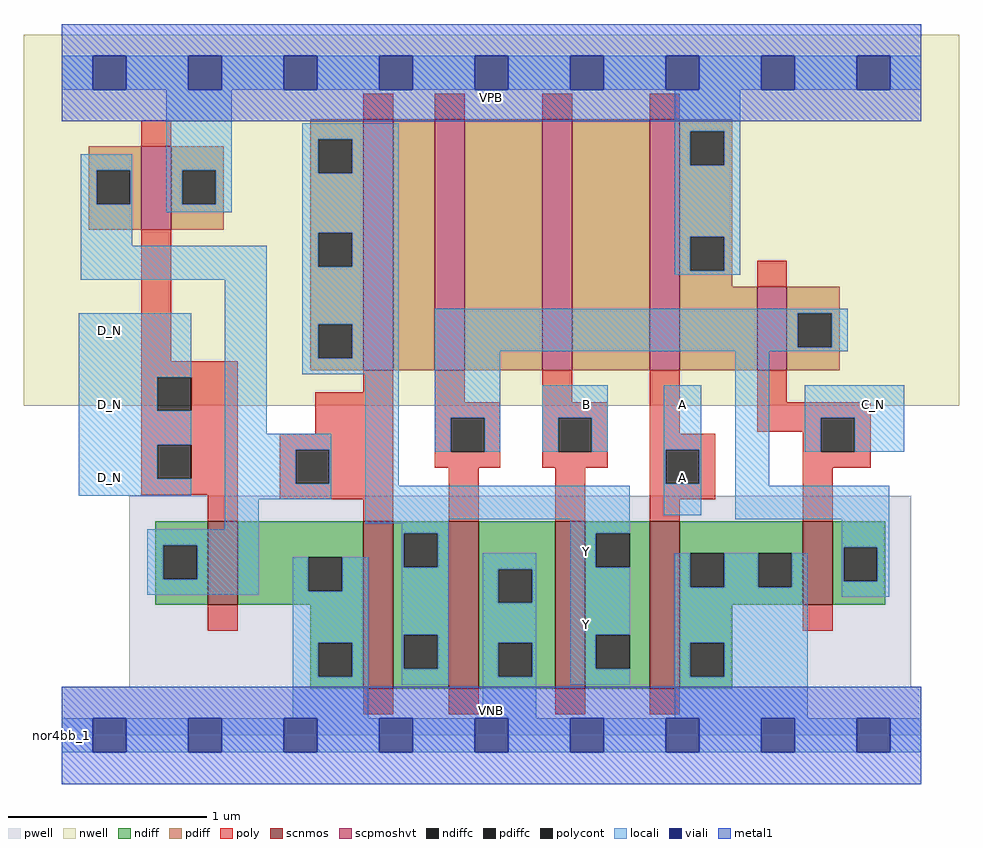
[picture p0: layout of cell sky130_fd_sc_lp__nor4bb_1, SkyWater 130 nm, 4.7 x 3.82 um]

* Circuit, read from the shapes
.subckt sky130_fd_sc_lp__nor4bb_1 A B C_N D_N VGND VNB VPB VPWR Y
XM1 VGND D_N n1 VNB sky130_fd_pr__nfet_01v8 w=0.42 l=0.15
XM2 Y n1 VGND VNB sky130_fd_pr__nfet_01v8 w=0.84 l=0.15
XM3 VGND n2 Y VNB sky130_fd_pr__nfet_01v8 w=0.84 l=0.15
XM4 Y B VGND VNB sky130_fd_pr__nfet_01v8 w=0.84 l=0.15
XM5 VGND A Y VNB sky130_fd_pr__nfet_01v8 w=0.84 l=0.15
XM6 n2 C_N VGND VNB sky130_fd_pr__nfet_01v8 w=0.42 l=0.15
XM7 VPWR D_N n1 VPB sky130_fd_pr__pfet_01v8_hvt w=0.42 l=0.15
XM8 n3 n1 Y VPB sky130_fd_pr__pfet_01v8_hvt w=1.26 l=0.15
XM9 n4 n2 n3 VPB sky130_fd_pr__pfet_01v8_hvt w=1.26 l=0.15
XM10 n5 B n4 VPB sky130_fd_pr__pfet_01v8_hvt w=1.26 l=0.15
XM11 VPWR A n5 VPB sky130_fd_pr__pfet_01v8_hvt w=1.26 l=0.15
XM12 n2 C_N VPWR VPB sky130_fd_pr__pfet_01v8_hvt w=0.42 l=0.15
.ends

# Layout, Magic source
magic
tech sky130A
magscale 1 2
<< nwell >>
rect -38 331 902 704
<< pwell >>
rect 68 49 854 241
rect 0 0 864 49
<< scnmos >>
rect 147 131 177 215
rect 303 47 333 215
rect 389 47 419 215
rect 496 47 526 215
rect 591 47 621 215
rect 745 131 775 215
<< scpmoshvt >>
rect 80 508 110 592
rect 303 367 333 619
rect 375 367 405 619
rect 483 367 513 619
rect 591 367 621 619
rect 699 367 729 451
<< ndiff >>
rect 94 191 147 215
rect 94 157 102 191
rect 136 157 147 191
rect 94 131 147 157
rect 177 179 303 215
rect 177 145 248 179
rect 282 145 303 179
rect 177 131 303 145
rect 250 93 303 131
rect 250 59 258 93
rect 292 59 303 93
rect 250 47 303 59
rect 333 203 389 215
rect 333 169 344 203
rect 378 169 389 203
rect 333 101 389 169
rect 333 67 344 101
rect 378 67 389 101
rect 333 47 389 67
rect 419 167 496 215
rect 419 133 439 167
rect 473 133 496 167
rect 419 93 496 133
rect 419 59 439 93
rect 473 59 496 93
rect 419 47 496 59
rect 526 203 591 215
rect 526 169 537 203
rect 571 169 591 203
rect 526 101 591 169
rect 526 67 537 101
rect 571 67 591 101
rect 526 47 591 67
rect 621 183 745 215
rect 621 149 632 183
rect 666 149 700 183
rect 734 149 745 183
rect 621 131 745 149
rect 775 189 828 215
rect 775 155 786 189
rect 820 155 828 189
rect 775 131 828 155
rect 621 93 674 131
rect 621 59 632 93
rect 666 59 674 93
rect 621 47 674 59
<< pdiff >>
rect 250 599 303 619
rect 27 568 80 592
rect 27 534 35 568
rect 69 534 80 568
rect 27 508 80 534
rect 110 568 163 592
rect 110 534 121 568
rect 155 534 163 568
rect 110 508 163 534
rect 250 565 258 599
rect 292 565 303 599
rect 250 505 303 565
rect 250 471 258 505
rect 292 471 303 505
rect 250 413 303 471
rect 250 379 258 413
rect 292 379 303 413
rect 250 367 303 379
rect 333 367 375 619
rect 405 367 483 619
rect 513 367 591 619
rect 621 607 674 619
rect 621 573 632 607
rect 666 573 674 607
rect 621 501 674 573
rect 621 467 632 501
rect 666 467 674 501
rect 621 451 674 467
rect 621 367 699 451
rect 729 424 782 451
rect 729 390 740 424
rect 774 390 782 424
rect 729 367 782 390
<< ndiffc >>
rect 102 157 136 191
rect 248 145 282 179
rect 258 59 292 93
rect 344 169 378 203
rect 344 67 378 101
rect 439 133 473 167
rect 439 59 473 93
rect 537 169 571 203
rect 537 67 571 101
rect 632 149 666 183
rect 700 149 734 183
rect 786 155 820 189
rect 632 59 666 93
<< pdiffc >>
rect 35 534 69 568
rect 121 534 155 568
rect 258 565 292 599
rect 258 471 292 505
rect 258 379 292 413
rect 632 573 666 607
rect 632 467 666 501
rect 740 390 774 424
<< poly >>
rect 303 619 333 645
rect 375 619 405 645
rect 483 619 513 645
rect 591 619 621 645
rect 80 592 110 618
rect 80 376 110 508
rect 80 360 177 376
rect 699 451 729 477
rect 80 326 96 360
rect 130 326 177 360
rect 303 345 333 367
rect 80 292 177 326
rect 255 303 333 345
rect 80 258 96 292
rect 130 258 177 292
rect 80 242 177 258
rect 147 215 177 242
rect 219 287 333 303
rect 219 253 235 287
rect 269 253 333 287
rect 375 335 405 367
rect 483 335 513 367
rect 375 319 441 335
rect 375 285 391 319
rect 425 285 441 319
rect 375 269 441 285
rect 483 319 549 335
rect 483 285 499 319
rect 533 285 549 319
rect 483 269 549 285
rect 591 303 621 367
rect 699 335 729 367
rect 699 319 813 335
rect 699 305 763 319
rect 591 287 657 303
rect 219 237 333 253
rect 303 215 333 237
rect 389 215 419 269
rect 496 215 526 269
rect 591 253 607 287
rect 641 253 657 287
rect 591 237 657 253
rect 745 285 763 305
rect 797 285 813 319
rect 745 269 813 285
rect 591 215 621 237
rect 745 215 775 269
rect 147 105 177 131
rect 745 105 775 131
rect 303 21 333 47
rect 389 21 419 47
rect 496 21 526 47
rect 591 21 621 47
<< polycont >>
rect 96 326 130 360
rect 96 258 130 292
rect 235 253 269 287
rect 391 285 425 319
rect 499 285 533 319
rect 607 253 641 287
rect 763 285 797 319
<< locali >>
rect 0 649 31 683
rect 65 649 127 683
rect 161 649 223 683
rect 257 649 319 683
rect 353 649 415 683
rect 449 649 511 683
rect 545 649 607 683
rect 641 649 703 683
rect 737 649 799 683
rect 833 649 864 683
rect 19 568 71 584
rect 19 534 35 568
rect 69 534 71 568
rect 19 492 71 534
rect 105 568 171 649
rect 105 534 121 568
rect 155 534 171 568
rect 105 526 171 534
rect 242 599 339 615
rect 242 565 258 599
rect 292 565 339 599
rect 242 505 339 565
rect 19 458 206 492
rect 17 360 130 424
rect 17 326 96 360
rect 17 292 130 326
rect 17 258 96 292
rect 17 241 130 258
rect 164 303 206 458
rect 242 471 258 505
rect 292 471 339 505
rect 242 413 339 471
rect 616 607 682 649
rect 616 573 632 607
rect 666 573 682 607
rect 616 501 682 573
rect 616 467 632 501
rect 666 467 682 501
rect 616 463 682 467
rect 242 379 258 413
rect 292 379 339 413
rect 242 363 339 379
rect 164 287 271 303
rect 164 253 235 287
rect 269 253 271 287
rect 164 237 271 253
rect 305 251 339 363
rect 375 424 790 429
rect 375 390 740 424
rect 774 390 790 424
rect 375 386 790 390
rect 375 319 441 386
rect 375 285 391 319
rect 425 285 441 319
rect 483 319 549 352
rect 483 285 499 319
rect 533 285 549 319
rect 605 287 643 352
rect 605 253 607 287
rect 641 253 643 287
rect 164 207 198 237
rect 305 217 571 251
rect 605 221 643 253
rect 677 251 711 386
rect 747 319 847 352
rect 747 285 763 319
rect 797 285 847 319
rect 677 217 832 251
rect 305 213 389 217
rect 86 191 198 207
rect 86 157 102 191
rect 136 157 198 191
rect 342 203 389 213
rect 86 141 198 157
rect 232 145 248 179
rect 282 145 308 179
rect 232 93 308 145
rect 232 59 258 93
rect 292 59 308 93
rect 232 17 308 59
rect 342 169 344 203
rect 378 169 389 203
rect 511 203 571 217
rect 342 101 389 169
rect 342 67 344 101
rect 378 67 389 101
rect 342 51 389 67
rect 423 167 477 183
rect 423 133 439 167
rect 473 133 477 167
rect 423 93 477 133
rect 423 59 439 93
rect 473 59 477 93
rect 423 17 477 59
rect 511 169 537 203
rect 784 189 832 217
rect 511 101 571 169
rect 511 67 537 101
rect 511 51 571 67
rect 616 149 632 183
rect 666 149 700 183
rect 734 149 750 183
rect 616 93 750 149
rect 784 155 786 189
rect 820 155 832 189
rect 784 139 832 155
rect 616 59 632 93
rect 666 59 750 93
rect 616 17 750 59
rect 0 -17 31 17
rect 65 -17 127 17
rect 161 -17 223 17
rect 257 -17 319 17
rect 353 -17 415 17
rect 449 -17 511 17
rect 545 -17 607 17
rect 641 -17 703 17
rect 737 -17 799 17
rect 833 -17 864 17
<< viali >>
rect 31 649 65 683
rect 127 649 161 683
rect 223 649 257 683
rect 319 649 353 683
rect 415 649 449 683
rect 511 649 545 683
rect 607 649 641 683
rect 703 649 737 683
rect 799 649 833 683
rect 31 -17 65 17
rect 127 -17 161 17
rect 223 -17 257 17
rect 319 -17 353 17
rect 415 -17 449 17
rect 511 -17 545 17
rect 607 -17 641 17
rect 703 -17 737 17
rect 799 -17 833 17
<< metal1 >>
rect 0 683 864 715
rect 0 649 31 683
rect 65 649 127 683
rect 161 649 223 683
rect 257 649 319 683
rect 353 649 415 683
rect 449 649 511 683
rect 545 649 607 683
rect 641 649 703 683
rect 737 649 799 683
rect 833 649 864 683
rect 0 617 864 649
rect 0 17 864 49
rect 0 -17 31 17
rect 65 -17 127 17
rect 161 -17 223 17
rect 257 -17 319 17
rect 353 -17 415 17
rect 449 -17 511 17
rect 545 -17 607 17
rect 641 -17 703 17
rect 737 -17 799 17
rect 833 -17 864 17
rect 0 -49 864 -17
<< labels >>
flabel pwell s 0 0 864 49 0 FreeSans 200 0 0 0 VNB
port 6 nsew ground bidirectional
flabel nwell s 0 617 864 666 0 FreeSans 200 0 0 0 VPB
port 7 nsew power bidirectional
rlabel comment s 0 0 0 0 4 nor4bb_1
flabel metal1 s 0 617 864 666 0 FreeSans 340 0 0 0 VPWR
port 8 nsew power bidirectional
flabel metal1 s 0 0 864 49 0 FreeSans 340 0 0 0 VGND
port 5 nsew ground bidirectional
flabel locali s 607 242 641 276 0 FreeSans 340 0 0 0 A
port 1 nsew signal input
flabel locali s 607 316 641 350 0 FreeSans 340 0 0 0 A
port 1 nsew signal input
flabel locali s 511 316 545 350 0 FreeSans 340 0 0 0 B
port 2 nsew signal input
flabel locali s 31 242 65 276 0 FreeSans 340 0 0 0 D_N
port 4 nsew signal input
flabel locali s 31 316 65 350 0 FreeSans 340 0 0 0 D_N
port 4 nsew signal input
flabel locali s 31 390 65 424 0 FreeSans 340 0 0 0 D_N
port 4 nsew signal input
flabel locali s 511 94 545 128 0 FreeSans 340 0 0 0 Y
port 9 nsew signal output
flabel locali s 511 168 545 202 0 FreeSans 340 0 0 0 Y
port 9 nsew signal output
flabel locali s 799 316 833 350 0 FreeSans 340 0 0 0 C_N
port 3 nsew signal input
<< properties >>
string LEFsite unit
string LEFclass CORE
string FIXED_BBOX 0 0 864 666
string GDS_FILE $PDKPATH/libs.ref/sky130_fd_sc_lp/gds/sky130_fd_sc_lp.gds
string LEFsymmetry X Y R90
string GDS_END 3352976
string GDS_START 3345644
<< end >>
